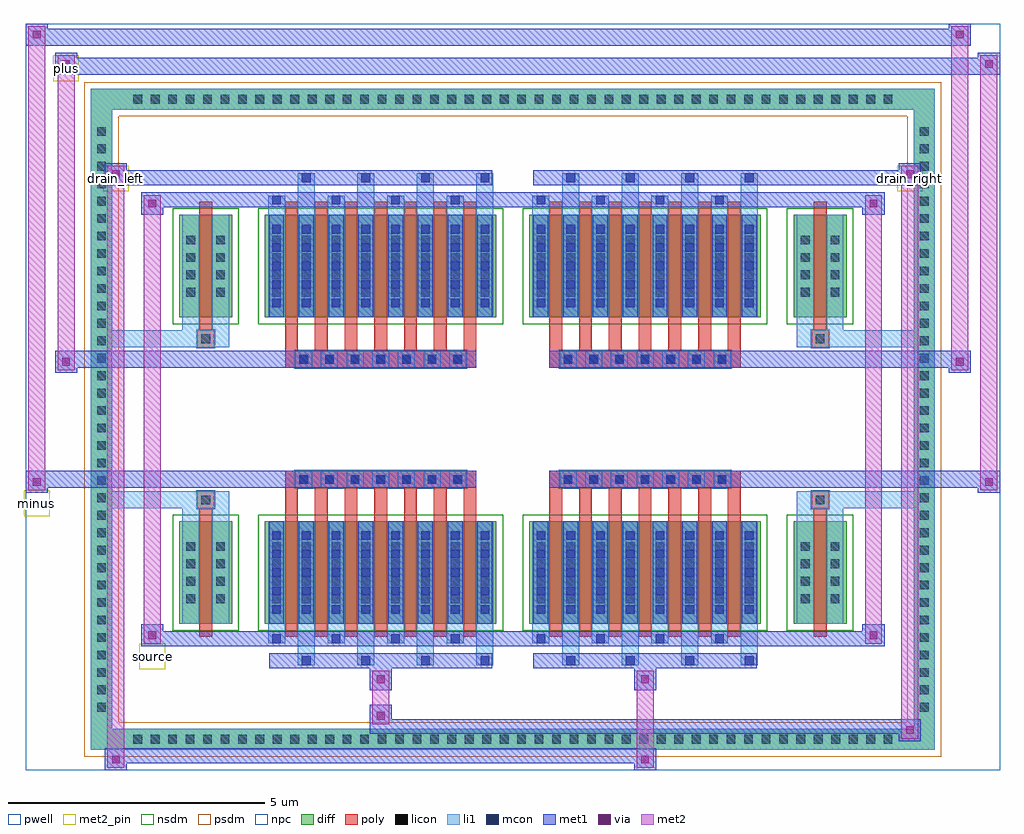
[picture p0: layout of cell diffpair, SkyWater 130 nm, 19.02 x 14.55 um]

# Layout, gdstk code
import gdstk
lib = gdstk.Library(unit=1e-6, precision=5e-09)
def R(c, l, rs):  # rectangles x0, y0, x1, y1
    for r in rs: c.add(gdstk.rectangle(r[:2], r[2:], *l))
def A(c, l, x, y, w, h, nx, ny, dx, dy):  # array of equal rectangles
    R(c, l, [(x+i*dx, y+j*dy, x+i*dx+w, y+j*dy+h) for i in range(nx) for j in range(ny)])
def P(c, l, *ps):  # polygons
    for p in ps: c.add(gdstk.Polygon(p, *l))
pwell = (64, 44)
diff = (65, 20)
poly = (66, 20)
licon = (66, 44)
li1 = (67, 20)
mcon = (67, 44)
met1 = (68, 20)
via = (68, 44)
met2_pin = (69, 16)
met2 = (69, 20)
nsdm = (93, 44)
psdm = (94, 20)
npc = (95, 20)

diffpair = lib.new_cell('diffpair')
R(diffpair, pwell, [(-9.49,-6.84,9.49,7.71), (-6.81,-5.03,-0.01,-0.805), (0.01,-5.03,6.81,-0.805), (-6.81,0.805,-0.01,5.03), (0.01,0.805,6.81,5.03)])
A(diffpair, diff, -7.515, -6.44, 0.41, 0.41, 44, 2, 0.34, 12.47)
A(diffpair, diff, -8.22, -5.815, 0.41, 0.41, 1, 34, 0, 0.34)
A(diffpair, diff, 7.81, -5.815, 0.41, 0.41, 1, 34, 0, 0.34)
R(diffpair, diff, [(-7.515,-6.44,7.515,-6.03), (-8.22,-5.815,-7.81,5.815), (7.81,-5.815,8.22,5.815), (-6.5,-3.985,-5.47,-1.985), (-4.83,-3.985,-0.32,-1.985), (0.32,-3.985,4.83,-1.985), (5.47,-3.985,6.5,-1.985), (-6.5,1.985,-5.47,3.985), (-4.83,1.985,-0.32,3.985), (0.32,1.985,4.83,3.985), (5.47,1.985,6.5,3.985), (-7.515,6.03,7.515,6.44)])
P(diffpair, diff, [(8.22,6.44),(-8.22,6.44),(-8.22,-6.03),(-7.81,-6.03),(-7.81,6.03),(7.81,6.03),(7.81,-6.03),(-7.81,-6.03),(-8.22,-6.03),(-8.22,-6.44),(8.22,-6.44)])
A(diffpair, poly, -4.44, -4.235, 0.25, 2.5, 7, 2, 0.58, 5.97)
A(diffpair, poly, 0.71, -4.235, 0.25, 2.5, 7, 2, 0.58, 5.97)
A(diffpair, poly, -4.44, -1.735, 0.25, 0.4, 7, 2, 0.58, 3.07)
A(diffpair, poly, 0.71, -1.735, 0.25, 0.4, 7, 2, 0.58, 3.07)
A(diffpair, poly, -4.24, -1.335, 0.33, 0.33, 7, 2, 0.5, 2.34)
A(diffpair, poly, 0.91, -1.335, 0.33, 0.33, 7, 2, 0.5, 2.34)
R(diffpair, poly, [(-6.11,-4.235,-5.86,-1.735), (5.86,-4.235,6.11,-1.735), (-6.15,-1.735,-5.82,-1.405), (-6.15,-1.735,-5.82,-1.405), (5.82,-1.735,6.15,-1.405), (5.82,-1.735,6.15,-1.405), (-4.44,-1.335,-0.71,-1.005), (0.71,-1.335,4.44,-1.005), (-4.44,1.005,-0.71,1.335), (0.71,1.005,4.44,1.335), (-6.15,1.405,-5.82,1.735), (-6.15,1.405,-5.82,1.735), (5.82,1.405,6.15,1.735), (5.82,1.405,6.15,1.735), (-6.11,1.735,-5.86,4.235), (5.86,1.735,6.11,4.235)])
A(diffpair, licon, -7.395, -6.32, 0.17, 0.17, 44, 2, 0.34, 12.47)
A(diffpair, licon, -8.1, -5.695, 0.17, 0.17, 1, 34, 0, 0.34)
A(diffpair, licon, 7.93, -5.695, 0.17, 0.17, 1, 34, 0, 0.34)
A(diffpair, licon, -6.36, -3.58, 0.17, 0.17, 1, 4, 0, 0.34)
A(diffpair, licon, -5.78, -3.58, 0.17, 0.17, 1, 4, 0, 0.34)
A(diffpair, licon, -4.69, -3.58, 0.17, 0.17, 8, 4, 0.58, 0.34)
A(diffpair, licon, 0.46, -3.58, 0.17, 0.17, 8, 4, 0.58, 0.34)
A(diffpair, licon, 5.61, -3.58, 0.17, 0.17, 1, 4, 0, 0.34)
A(diffpair, licon, 6.19, -3.58, 0.17, 0.17, 1, 4, 0, 0.34)
A(diffpair, licon, -4.16, -1.255, 0.17, 0.17, 7, 2, 0.5, 2.34)
A(diffpair, licon, 0.99, -1.255, 0.17, 0.17, 7, 2, 0.5, 2.34)
A(diffpair, licon, -6.36, 2.39, 0.17, 0.17, 1, 4, 0, 0.34)
A(diffpair, licon, -5.78, 2.39, 0.17, 0.17, 1, 4, 0, 0.34)
A(diffpair, licon, -4.69, 2.39, 0.17, 0.17, 8, 4, 0.58, 0.34)
A(diffpair, licon, 0.46, 2.39, 0.17, 0.17, 8, 4, 0.58, 0.34)
A(diffpair, licon, 5.61, 2.39, 0.17, 0.17, 1, 4, 0, 0.34)
A(diffpair, licon, 6.19, 2.39, 0.17, 0.17, 1, 4, 0, 0.34)
R(diffpair, licon, [(-6.07,-1.655,-5.9,-1.485), (5.9,-1.655,6.07,-1.485), (-6.07,1.485,-5.9,1.655), (5.9,1.485,6.07,1.655)])
A(diffpair, li1, -7.475, -6.4, 0.33, 0.33, 44, 2, 0.34, 12.47)
A(diffpair, li1, -8.18, -5.775, 0.33, 0.33, 1, 34, 0, 0.34)
A(diffpair, li1, 7.85, -5.775, 0.33, 0.33, 1, 34, 0, 0.34)
A(diffpair, li1, -4.19, -4.79, 0.33, 0.805, 4, 2, 1.16, 8.775)
A(diffpair, li1, -4.11, -4.79, 0.17, 0.17, 4, 2, 1.16, 9.41)
A(diffpair, li1, 0.96, -4.79, 0.33, 0.805, 4, 2, 1.16, 8.775)
A(diffpair, li1, 1.04, -4.79, 0.17, 0.17, 4, 2, 1.16, 9.41)
A(diffpair, li1, -4.77, -4.36, 0.33, 0.375, 4, 2, 1.16, 8.345)
A(diffpair, li1, -4.69, -4.36, 0.17, 0.17, 4, 2, 1.16, 8.55)
A(diffpair, li1, 0.38, -4.36, 0.33, 0.375, 4, 2, 1.16, 8.345)
A(diffpair, li1, 0.46, -4.36, 0.17, 0.17, 4, 2, 1.16, 8.55)
A(diffpair, li1, -4.77, -3.985, 0.33, 2, 8, 2, 0.58, 5.97)
A(diffpair, li1, 0.38, -3.985, 0.33, 2, 8, 2, 0.58, 5.97)
A(diffpair, li1, -4.69, -3.79, 0.17, 0.17, 8, 5, 0.58, 0.36)
A(diffpair, li1, -4.69, -3.79, 0.17, 1.61, 8, 2, 0.58, 5.97)
A(diffpair, li1, 0.46, -3.79, 0.17, 0.17, 8, 5, 0.58, 0.36)
A(diffpair, li1, 0.46, -3.79, 0.17, 1.61, 8, 2, 0.58, 5.97)
A(diffpair, li1, -6.44, -3.66, 0.33, 0.33, 1, 4, 0, 0.34)
A(diffpair, li1, -5.86, -3.66, 0.33, 0.33, 1, 4, 0, 0.34)
A(diffpair, li1, -4.77, -3.66, 0.33, 0.33, 8, 4, 0.58, 0.34)
A(diffpair, li1, 0.38, -3.66, 0.33, 0.33, 8, 4, 0.58, 0.34)
A(diffpair, li1, 5.53, -3.66, 0.33, 0.33, 1, 4, 0, 0.34)
A(diffpair, li1, 6.11, -3.66, 0.33, 0.33, 1, 4, 0, 0.34)
A(diffpair, li1, -4.24, -1.335, 0.33, 0.33, 7, 2, 0.5, 2.34)
A(diffpair, li1, 0.91, -1.335, 0.33, 0.33, 7, 2, 0.5, 2.34)
A(diffpair, li1, -4.69, 2.18, 0.17, 0.17, 8, 5, 0.58, 0.36)
A(diffpair, li1, 0.46, 2.18, 0.17, 0.17, 8, 5, 0.58, 0.36)
A(diffpair, li1, -6.44, 2.31, 0.33, 0.33, 1, 4, 0, 0.34)
A(diffpair, li1, -5.86, 2.31, 0.33, 0.33, 1, 4, 0, 0.34)
A(diffpair, li1, -4.77, 2.31, 0.33, 0.33, 8, 4, 0.58, 0.34)
A(diffpair, li1, 0.38, 2.31, 0.33, 0.33, 8, 4, 0.58, 0.34)
A(diffpair, li1, 5.53, 2.31, 0.33, 0.33, 1, 4, 0, 0.34)
A(diffpair, li1, 6.11, 2.31, 0.33, 0.33, 1, 4, 0, 0.34)
R(diffpair, li1, [(-8.22,-6.44,-7.81,-6.03), (-8.22,-6.44,-7.81,-6.03), (-7.81,-6.44,7.81,-6.03), (7.81,-6.44,8.22,-6.03), (7.81,-6.44,8.22,-6.03), (-8.22,-6.03,-7.81,6.03), (7.81,-6.03,8.22,6.03), (-6.44,-3.985,-6.11,-1.985), (-5.86,-3.985,-5.53,-1.985), (5.53,-3.985,5.86,-1.985), (6.11,-3.985,6.44,-1.985), (-6.44,-1.985,-6.11,-1.405), (-5.86,-1.985,-5.53,-1.405), (5.53,-1.985,5.86,-1.405), (6.11,-1.985,6.44,-1.405), (-8.22,-1.735,-6.15,-1.405), (-6.44,-1.735,-6.15,-1.405), (-6.15,-1.735,-5.82,-1.405), (-5.82,-1.735,-5.53,-1.405), (5.53,-1.735,5.82,-1.405), (5.82,-1.735,6.15,-1.405), (5.82,-1.735,8.22,-1.405), (6.15,-1.735,6.44,-1.405), (-8.22,1.405,-6.15,1.735), (-6.44,1.405,-6.15,1.735), (-6.44,1.405,-6.11,1.985), (-6.15,1.405,-5.82,1.735), (-5.86,1.405,-5.53,1.985), (-5.82,1.405,-5.53,1.735), (5.53,1.405,5.82,1.735), (5.53,1.405,5.86,1.985), (5.82,1.405,6.15,1.735), (5.82,1.405,8.22,1.735), (6.11,1.405,6.44,1.985), (6.15,1.405,6.44,1.735), (-6.44,1.985,-6.11,3.985), (-5.86,1.985,-5.53,3.985), (5.53,1.985,5.86,3.985), (6.11,1.985,6.44,3.985), (-8.22,6.03,-7.81,6.44), (-8.22,6.03,-7.81,6.44), (-7.81,6.03,7.81,6.44), (7.81,6.03,8.22,6.44), (7.81,6.03,8.22,6.44)])
A(diffpair, mcon, -4.11, -4.79, 0.17, 0.17, 4, 2, 1.16, 9.41)
A(diffpair, mcon, 1.04, -4.79, 0.17, 0.17, 4, 2, 1.16, 9.41)
A(diffpair, mcon, -4.69, -4.36, 0.17, 0.17, 4, 2, 1.16, 8.55)
A(diffpair, mcon, 0.46, -4.36, 0.17, 0.17, 4, 2, 1.16, 8.55)
A(diffpair, mcon, -4.69, -3.79, 0.17, 0.17, 8, 5, 0.58, 0.36)
A(diffpair, mcon, 0.46, -3.79, 0.17, 0.17, 8, 5, 0.58, 0.36)
A(diffpair, mcon, -4.16, -1.255, 0.17, 0.17, 7, 2, 0.5, 2.34)
A(diffpair, mcon, 0.99, -1.255, 0.17, 0.17, 7, 2, 0.5, 2.34)
A(diffpair, mcon, -4.69, 2.18, 0.17, 0.17, 8, 5, 0.58, 0.36)
A(diffpair, mcon, 0.46, 2.18, 0.17, 0.17, 8, 5, 0.58, 0.36)
A(diffpair, met1, -4.17, -4.85, 0.29, 0.29, 4, 2, 1.16, 9.41)
A(diffpair, met1, 0.98, -4.85, 0.29, 0.29, 4, 2, 1.16, 9.41)
A(diffpair, met1, -4.75, -4.42, 0.29, 0.29, 4, 2, 1.16, 8.55)
A(diffpair, met1, 0.4, -4.42, 0.29, 0.29, 4, 2, 1.16, 8.55)
A(diffpair, met1, -4.75, -3.985, 0.29, 2, 8, 2, 0.58, 5.97)
A(diffpair, met1, 0.4, -3.985, 0.29, 2, 8, 2, 0.58, 5.97)
A(diffpair, met1, -4.75, -3.85, 0.29, 0.29, 8, 5, 0.58, 0.36)
A(diffpair, met1, 0.4, -3.85, 0.29, 0.29, 8, 5, 0.58, 0.36)
A(diffpair, met1, -4.22, -1.315, 0.29, 0.29, 7, 2, 0.5, 2.34)
A(diffpair, met1, 0.93, -1.315, 0.29, 0.29, 7, 2, 0.5, 2.34)
A(diffpair, met1, -4.75, 2.12, 0.29, 0.29, 8, 5, 0.58, 0.36)
A(diffpair, met1, 0.4, 2.12, 0.29, 0.29, 8, 5, 0.58, 0.36)
R(diffpair, met1, [(-7.95,-6.84,-7.52,-6.41), (2.36,-6.84,2.79,-6.41), (-7.95,-6.7,2.79,-6.41), (7.52,-6.27,7.95,-5.84), (-2.79,-6.13,7.95,-5.84), (-2.79,-5.99,-2.36,-5.56), (-2.79,-5.28,-2.36,-4.85), (2.36,-5.28,2.79,-4.85), (-4.75,-4.85,-0.4,-4.56), (0.4,-4.85,4.75,-4.56), (-7.24,-4.42,-6.81,-3.99), (-7.24,-4.42,-4.75,-4.13), (-4.75,-4.42,-0.4,-4.13), (-0.4,-4.42,0.4,-4.13), (0.4,-4.42,4.75,-4.13), (4.75,-4.42,7.24,-4.13), (6.81,-4.42,7.24,-3.99), (-9.49,-1.435,-9.06,-1.005), (9.06,-1.435,9.49,-1.005), (-9.49,-1.335,-0.71,-1.005), (-4.44,-1.335,-0.71,-1.005), (0.71,-1.335,4.44,-1.005), (0.71,-1.335,9.49,-1.005), (-8.92,0.905,-8.49,1.335), (8.49,0.905,8.92,1.335), (-8.92,1.005,-4.44,1.335), (-4.44,1.005,-0.71,1.335), (0.71,1.005,4.44,1.335), (4.44,1.005,8.92,1.335), (-7.24,3.99,-6.81,4.42), (6.81,3.99,7.24,4.42), (-7.24,4.13,-4.75,4.42), (-4.75,4.13,-0.4,4.42), (-0.4,4.13,0.4,4.42), (0.4,4.13,4.75,4.42), (4.75,4.13,7.24,4.42), (-7.95,4.56,-7.52,4.99), (-7.95,4.56,-4.75,4.85), (-4.75,4.56,-0.4,4.85), (0.4,4.56,4.75,4.85), (4.75,4.56,7.95,4.85), (7.52,4.56,7.95,4.99), (-8.92,6.71,-8.49,7.14), (-8.92,6.71,-6.81,7.04), (-6.81,6.71,6.81,7.04), (6.81,6.71,9.49,7.04), (9.06,6.71,9.49,7.14), (-9.49,7.28,-9.06,7.71), (-9.49,7.28,-6.81,7.61), (-6.81,7.28,6.81,7.61), (6.81,7.28,8.92,7.61), (8.49,7.28,8.92,7.71)])
R(diffpair, via, [(-7.81,-6.7,-7.66,-6.55), (2.5,-6.7,2.65,-6.55), (7.66,-6.13,7.81,-5.98), (-2.65,-5.85,-2.5,-5.7), (-2.65,-5.14,-2.5,-4.99), (2.5,-5.14,2.65,-4.99), (-7.1,-4.28,-6.95,-4.13), (6.95,-4.28,7.1,-4.13), (-9.35,-1.295,-9.2,-1.145), (9.2,-1.295,9.35,-1.145), (-8.78,1.045,-8.63,1.195), (8.63,1.045,8.78,1.195), (-7.1,4.13,-6.95,4.28), (6.95,4.13,7.1,4.28), (-7.81,4.7,-7.66,4.85), (7.66,4.7,7.81,4.85), (-8.78,6.85,-8.63,7), (9.2,6.85,9.35,7), (-9.35,7.42,-9.2,7.57), (8.63,7.42,8.78,7.57)])
R(diffpair, met2_pin, [(-7.275,-4.87,-6.775,-4.37), (-9.525,-1.885,-9.025,-1.385), (-7.985,4.44,-7.485,4.94), (7.485,4.44,7.985,4.94), (-8.955,6.59,-8.455,7.09)])
R(diffpair, met2, [(-7.9,-6.79,-7.57,-6.46), (-7.9,-6.79,-7.57,4.94), (2.41,-6.79,2.74,-6.46), (2.41,-6.46,2.74,-5.23), (7.57,-6.22,7.9,-5.89), (7.57,-6.22,7.9,4.94), (-2.74,-5.94,-2.41,-5.61), (-2.74,-5.61,-2.41,-5.23), (-2.74,-5.23,-2.41,-4.9), (2.41,-5.23,2.74,-4.9), (-7.19,-4.37,-6.86,-4.04), (-7.19,-4.37,-6.86,4.37), (6.86,-4.37,7.19,-4.04), (6.86,-4.37,7.19,4.37), (-9.44,-1.385,-9.11,-1.055), (-9.44,-1.385,-9.11,7.66), (9.11,-1.385,9.44,-1.055), (9.11,-1.385,9.44,7.09), (-8.87,0.955,-8.54,1.285), (-8.87,0.955,-8.54,7.09), (8.54,0.955,8.87,1.285), (8.54,0.955,8.87,7.66), (-7.19,4.04,-6.86,4.37), (6.86,4.04,7.19,4.37), (-7.9,4.61,-7.57,4.94), (7.57,4.61,7.9,4.94), (-8.87,6.76,-8.54,7.09), (9.11,6.76,9.44,7.09), (-9.44,7.33,-9.11,7.66), (8.54,7.33,8.87,7.66)])
P(diffpair, met2, [(9.44,-1.385),(9.44,-1.385),(9.44,-1.055),(9.44,-1.055)],
  [(9.44,6.76),(9.44,6.76),(9.44,7.09),(9.44,7.09)],
  [(-9.11,-1.385),(-9.11,-1.385),(-9.11,-1.055),(-9.11,-1.055)],
  [(-9.11,7.33),(-9.11,7.33),(-9.11,7.66),(-9.11,7.66)],
  [(8.87,0.955),(8.87,0.955),(8.87,1.285),(8.87,1.285)],
  [(8.87,7.33),(8.87,7.33),(8.87,7.66),(8.87,7.66)],
  [(-8.54,0.955),(-8.54,0.955),(-8.54,1.285),(-8.54,1.285)],
  [(-8.54,6.76),(-8.54,6.76),(-8.54,7.09),(-8.54,7.09)],
  [(-7.57,-6.79),(-7.57,-6.79),(-7.57,-6.46),(-7.57,-6.46)],
  [(-7.57,4.61),(-7.57,4.61),(-7.57,4.94),(-7.57,4.94)],
  [(7.9,-6.22),(7.9,-6.22),(7.9,-5.89),(7.9,-5.89)],
  [(7.9,4.61),(7.9,4.61),(7.9,4.94),(7.9,4.94)],
  [(-6.86,-4.37),(-6.86,-4.37),(-6.86,-4.04),(-6.86,-4.04)],
  [(-6.86,4.04),(-6.86,4.04),(-6.86,4.37),(-6.86,4.37)],
  [(7.19,-4.37),(7.19,-4.37),(7.19,-4.04),(7.19,-4.04)],
  [(7.19,4.04),(7.19,4.04),(7.19,4.37),(7.19,4.37)])
R(diffpair, nsdm, [(-6.63,-4.115,-5.34,-1.855), (-4.96,-4.115,-0.19,-1.855), (0.19,-4.115,4.96,-1.855), (5.34,-4.115,6.63,-1.855), (-6.63,1.855,-5.34,4.115), (-4.96,1.855,-0.19,4.115), (0.19,1.855,4.96,4.115), (5.34,1.855,6.63,4.115)])
P(diffpair, psdm, [(8.35,6.57),(-8.35,6.57),(-8.35,-5.9),(-7.68,-5.9),(-7.68,5.9),(7.68,5.9),(7.68,-5.9),(-7.68,-5.9),(-8.35,-5.9),(-8.35,-6.57),(8.35,-6.57)])
A(diffpair, npc, -4.26, -1.355, 0.37, 0.37, 7, 2, 0.5, 2.34)
A(diffpair, npc, 0.89, -1.355, 0.37, 0.37, 7, 2, 0.5, 2.34)
R(diffpair, npc, [(-6.17,-1.755,-5.8,-1.385), (5.8,-1.755,6.17,-1.385), (-4.26,-1.355,-3.39,-0.985), (-4.26,-1.355,-3.39,-0.985), (-3.76,-1.355,-2.89,-0.985), (-3.76,-1.355,-2.89,-0.985), (-3.26,-1.355,-2.39,-0.985), (-3.26,-1.355,-2.39,-0.985), (-2.76,-1.355,-1.89,-0.985), (-2.76,-1.355,-1.89,-0.985), (-2.26,-1.355,-1.39,-0.985), (-2.26,-1.355,-1.39,-0.985), (-1.76,-1.355,-0.89,-0.985), (-1.76,-1.355,-0.89,-0.985), (0.89,-1.355,1.76,-0.985), (0.89,-1.355,1.76,-0.985), (1.39,-1.355,2.26,-0.985), (1.39,-1.355,2.26,-0.985), (1.89,-1.355,2.76,-0.985), (1.89,-1.355,2.76,-0.985), (2.39,-1.355,3.26,-0.985), (2.39,-1.355,3.26,-0.985), (2.89,-1.355,3.76,-0.985), (2.89,-1.355,3.76,-0.985), (3.39,-1.355,4.26,-0.985), (3.39,-1.355,4.26,-0.985), (-4.26,0.985,-3.39,1.355), (-4.26,0.985,-3.39,1.355), (-3.76,0.985,-2.89,1.355), (-3.76,0.985,-2.89,1.355), (-3.26,0.985,-2.39,1.355), (-3.26,0.985,-2.39,1.355), (-2.76,0.985,-1.89,1.355), (-2.76,0.985,-1.89,1.355), (-2.26,0.985,-1.39,1.355), (-2.26,0.985,-1.39,1.355), (-1.76,0.985,-0.89,1.355), (-1.76,0.985,-0.89,1.355), (0.89,0.985,1.76,1.355), (0.89,0.985,1.76,1.355), (1.39,0.985,2.26,1.355), (1.39,0.985,2.26,1.355), (1.89,0.985,2.76,1.355), (1.89,0.985,2.76,1.355), (2.39,0.985,3.26,1.355), (2.39,0.985,3.26,1.355), (2.89,0.985,3.76,1.355), (2.89,0.985,3.76,1.355), (3.39,0.985,4.26,1.355), (3.39,0.985,4.26,1.355), (-6.17,1.385,-5.8,1.755), (5.8,1.385,6.17,1.755)])
diffpair.add(gdstk.Label('minus', (-9.275,-1.635), layer=69, texttype=5))
diffpair.add(gdstk.Label('drain_right', (7.735,4.69), layer=69, texttype=5))
diffpair.add(gdstk.Label('drain_left', (-7.735,4.69), layer=69, texttype=5))
diffpair.add(gdstk.Label('source', (-7.025,-4.62), layer=69, texttype=5))
diffpair.add(gdstk.Label('plus', (-8.705,6.84), layer=69, texttype=5))

lib.write_gds('diffpair.gds')
